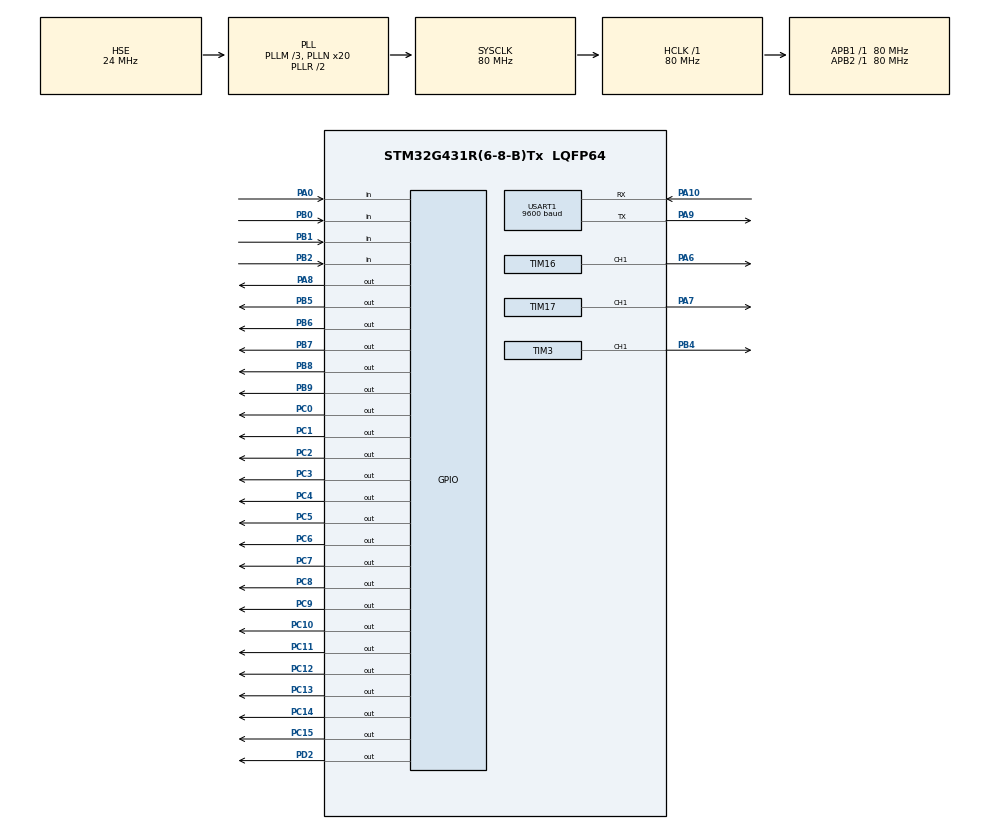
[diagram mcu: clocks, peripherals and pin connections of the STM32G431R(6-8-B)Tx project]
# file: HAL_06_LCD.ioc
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Mcu.Family=STM32G4
Mcu.Name=STM32G431R(6-8-B)Tx
Mcu.Package=LQFP64
NVIC.PriorityGroup=NVIC_PRIORITYGROUP_4
NVIC.TIM1_BRK_TIM15_IRQn=true\:0\:0\:false\:false\:true\:true\:true\:true
NVIC.USART1_IRQn=true\:0\:0\:false\:false\:true\:true\:true\:true
PA0.GPIO_PuPd=GPIO_PULLUP
PA0.Signal=GPIO_Input
PA10.Mode=Asynchronous
PA10.Signal=USART1_RX
PA13.Mode=Serial_Wire
PA13.Signal=SYS_JTMS-SWDIO
PA14.Mode=Serial_Wire
PA14.Signal=SYS_JTCK-SWCLK
PA6.Signal=S_TIM16_CH1
PA7.Signal=S_TIM17_CH1
PA8.Signal=GPIO_Output
PA9.Mode=Asynchronous
PA9.Signal=USART1_TX
PB0.GPIO_Mode=GPIO_MODE_INPUT
PB0.GPIO_PuPd=GPIO_PULLUP
PB0.Signal=GPIO_Input
PB1.GPIO_Mode=GPIO_MODE_INPUT
PB1.GPIO_PuPd=GPIO_PULLUP
PB1.Signal=GPIO_Input
PB2.GPIO_Mode=GPIO_MODE_INPUT
PB2.GPIO_PuPd=GPIO_PULLUP
PB2.Signal=GPIO_Input
PB4.Signal=S_TIM3_CH1
PB5.Signal=GPIO_Output
PB6.Signal=GPIO_Output
PB7.Signal=GPIO_Output
PB8-BOOT0.Signal=GPIO_Output
PB9.Signal=GPIO_Output
PC0.Signal=GPIO_Output
PC1.Signal=GPIO_Output
PC10.Signal=GPIO_Output
PC11.Signal=GPIO_Output
PC12.Signal=GPIO_Output
PC13.Signal=GPIO_Output
PC14-OSC32_IN.Signal=GPIO_Output
PC15-OSC32_OUT.Signal=GPIO_Output
PC2.Signal=GPIO_Output
PC3.Signal=GPIO_Output
PC4.Signal=GPIO_Output
PC5.Signal=GPIO_Output
PC6.Signal=GPIO_Output
PC7.Signal=GPIO_Output
PC8.Signal=GPIO_Output
PC9.Signal=GPIO_Output
PD2.Signal=GPIO_Output
PF0-OSC_IN.Mode=HSE-External-Oscillator
PF0-OSC_IN.Signal=RCC_OSC_IN
PF1-OSC_OUT.Mode=HSE-External-Oscillator
PF1-OSC_OUT.Signal=RCC_OSC_OUT
ProjectManager.HeapSize=0x200
ProjectManager.StackSize=0x400
ProjectManager.TargetToolchain=MDK-ARM V5.27
RCC.ADC12Freq_Value=80000000
RCC.AHBFreq_Value=80000000
RCC.APB1Freq_Value=80000000
RCC.APB1TimFreq_Value=80000000
RCC.APB2Freq_Value=80000000
RCC.APB2TimFreq_Value=80000000
RCC.CortexFreq_Value=80000000
RCC.EXTERNAL_CLOCK_VALUE=12288000
RCC.HCLKFreq_Value=80000000
RCC.HSE_VALUE=24000000
RCC.HSI48_VALUE=48000000
RCC.HSI_VALUE=16000000
RCC.LSE_VALUE=32768
RCC.PLLM=RCC_PLLM_DIV3
RCC.PLLN=20
RCC.PLLSourceVirtual=RCC_PLLSOURCE_HSE
RCC.SYSCLKFreq_VALUE=80000000
RCC.SYSCLKSource=RCC_SYSCLKSOURCE_PLLCLK
RCC.USBFreq_Value=80000000
RCC.VCOOutputFreq_Value=160000000
SH.S_TIM16_CH1.0=TIM16_CH1,PWM Generation1 CH1
SH.S_TIM17_CH1.0=TIM17_CH1,PWM Generation1 CH1
SH.S_TIM3_CH1.0=TIM3_CH1,PWM Generation1 CH1
TIM15.AutoReloadPreload=TIM_AUTORELOAD_PRELOAD_ENABLE
TIM15.PeriodNoDither=1000-1
TIM15.Prescaler=80-1
TIM16.AutoReloadPreload=TIM_AUTORELOAD_PRELOAD_ENABLE
TIM16.Channel=TIM_CHANNEL_1
TIM16.PeriodNoDither=100-1
TIM16.Prescaler=800-1
TIM17.AutoReloadPreload=TIM_AUTORELOAD_PRELOAD_ENABLE
TIM17.Channel=TIM_CHANNEL_1
TIM17.PeriodNoDither=100-1
TIM17.Prescaler=800-1
TIM3.AutoReloadPreload=TIM_AUTORELOAD_PRELOAD_ENABLE
TIM3.Channel-PWM\ Generation1\ CH1=TIM_CHANNEL_1
TIM3.PeriodNoDither=100-1
TIM3.Prescaler=800-1
USART1.BaudRate=9600
USART1.VirtualMode-Asynchronous=VM_ASYNC
VP_SYS_VS_DBSignals.Mode=DisableDeadBatterySignals
VP_TIM15_VS_ClockSourceINT.Mode=Internal
VP_TIM16_VS_ClockSourceINT.Mode=Enable_Timer
VP_TIM17_VS_ClockSourceINT.Mode=Enable_Timer
VP_TIM3_VS_ClockSourceINT.Mode=Internal
board=custom

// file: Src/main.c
/* USER CODE BEGIN Header */
/**
  ******************************************************************************
  * @file           : main.c
  * @brief          : Main program body
  ******************************************************************************
  * @attention
  *
  * <h2><center>&copy; Copyright (c) 2021 STMicroelectronics.
  * All rights reserved.</center></h2>
  *
  * This software component is licensed by ST under BSD 3-Clause license,
  * the "License"; You may not use this file except in compliance with the
  * License. You may obtain a copy of the License at:
  *                        opensource.org/licenses/BSD-3-Clause
  *
  ******************************************************************************
  */
/* USER CODE END Header */
#include "main.h"
#include "tim.h"
#include "usart.h"
#include "gpio.h"

/* USER CODE BEGIN Includes */
#include "led.h"
#include "interrput.h"
#include "i2c_hal.h"
#include "string.h"
/* USER CODE END Includes */

/* USER CODE BEGIN PTD */
#define eeprom_first_flag 50 //第一次上电保持不变需要修改

void lcd_dispaly(void);
void time_computer(void);
void key_proc(void);
void led_show(void);
void time_setting(void);
void eeprom_bsp(void);

#define eeprom_delay 5

extern struct KEYS keys[];
extern int time_flag;
extern char receive_data[];
extern int data_pointer;
/* USER CODE END PTD */

/* USER CODE BEGIN PD */
union EEPROM_DATA {
	uint32_t ID;
	uint8_t str[8];
} My_ID;

struct TIME{
	uint hour;
	uint min;
	uint sec;

	uint hour_set;
	uint min_set;
	uint sec_set;

	uint delay_time;
}time={23,59,50,99,99,99,0};

//	time.hour=23;
//	time.min=59;
//	time.sec=50;
//
//	time.hour_set=99;
//	time.min_set=99;
//	time.sec_set=99;
//
//	time.delay_time=0;

int flagg=1;//时间自锁标志位

int pa6_flag=1; //开机处于不调制状态
int pa7_flag=1;

int time_set_flag=0;
int time_set_real=0;

int pa6_status_flag=0;
int pa7_status_flag=0;

int rx_show_flag=0;

int pa6_duty=80;
int pa7_duty=10;

uint8_t P_uart_data;

uint pwm_select=0;
/* USER CODE END PD */

/* USER CODE BEGIN PM */
char lcd_buff[25];
char rx_buff[25];
char temp_rx_data[30];
/* USER CODE END PM */

void SystemClock_Config(void);

int main(void)
{

  /* MCU Configuration--------------------------------------------------------*/

  /* Reset of all peripherals, Initializes the Flash interface and the Systick. */
  HAL_Init();

  /* Configure the system clock */
  SystemClock_Config();

  /* Initialize all configured peripherals */
  MX_GPIO_Init();
  MX_TIM3_Init();
  MX_TIM15_Init();
  MX_TIM16_Init();
  MX_TIM17_Init();
  MX_USART1_UART_Init();

  /* USER CODE BEGIN 2 */
	HAL_TIM_Base_Start_IT(&htim15); //按键定时器
	LCD_Init();
	I2CInit();
	HAL_UART_Receive_IT(&huart1, &P_uart_data,1);
	led_disp(0x00);

  /* USER CODE END 2 */

  /* Infinite loop */
  /* USER CODE BEGIN WHILE */
	LCD_Clear(Black);
	LCD_SetBackColor(Black);
	LCD_SetTextColor(White);

	eeprom_bsp();
	pa6_duty=eeprom_read(0x00);
	HAL_Delay(eeprom_delay);
	pa7_duty=eeprom_read(0x01);
	HAL_Delay(eeprom_delay);

  while (1)
  {
    /* USER CODE END WHILE */

    /* USER CODE BEGIN 3 */
		time_computer();

		key_proc();

		time_setting();

		lcd_dispaly();
		led_show();
		if(data_pointer!=0)
		{
			int temp=data_pointer;
			HAL_Delay(1);
			if(temp==data_pointer)
				data_deal();
		}
  }
  /* USER CODE END 3 */
}

void SystemClock_Config(void)
{
  RCC_OscInitTypeDef RCC_OscInitStruct = {0};
  RCC_ClkInitTypeDef RCC_ClkInitStruct = {0};

  /** Configure the main internal regulator output voltage
  */
  HAL_PWREx_ControlVoltageScaling(PWR_REGULATOR_VOLTAGE_SCALE1);

  /** Initializes the RCC Oscillators according to the specified parameters
  * in the RCC_OscInitTypeDef structure.
  */
  RCC_OscInitStruct.OscillatorType = RCC_OSCILLATORTYPE_HSE;
  RCC_OscInitStruct.HSEState = RCC_HSE_ON;
  RCC_OscInitStruct.PLL.PLLState = RCC_PLL_ON;
  RCC_OscInitStruct.PLL.PLLSource = RCC_PLLSOURCE_HSE;
  RCC_OscInitStruct.PLL.PLLM = RCC_PLLM_DIV3;
  RCC_OscInitStruct.PLL.PLLN = 20;
  RCC_OscInitStruct.PLL.PLLP = RCC_PLLP_DIV2;
  RCC_OscInitStruct.PLL.PLLQ = RCC_PLLQ_DIV2;
  RCC_OscInitStruct.PLL.PLLR = RCC_PLLR_DIV2;
  if (HAL_RCC_OscConfig(&RCC_OscInitStruct) != HAL_OK)
  {
    Error_Handler();
  }

  /** Initializes the CPU, AHB and APB buses clocks
  */
  RCC_ClkInitStruct.ClockType = RCC_CLOCKTYPE_HCLK|RCC_CLOCKTYPE_SYSCLK
                              |RCC_CLOCKTYPE_PCLK1|RCC_CLOCKTYPE_PCLK2;
  RCC_ClkInitStruct.SYSCLKSource = RCC_SYSCLKSOURCE_PLLCLK;
  RCC_ClkInitStruct.AHBCLKDivider = RCC_SYSCLK_DIV1;
  RCC_ClkInitStruct.APB1CLKDivider = RCC_HCLK_DIV1;
  RCC_ClkInitStruct.APB2CLKDivider = RCC_HCLK_DIV1;

  if (HAL_RCC_ClockConfig(&RCC_ClkInitStruct, FLASH_LATENCY_2) != HAL_OK)
  {
    Error_Handler();
  }
}

/* USER CODE BEGIN 4 */
void eeprom_bsp(){
		if(eeprom_read(0xff)!=eeprom_first_flag){
		   	HAL_Delay(eeprom_delay);
				eeprom_write(0x00,80);
				HAL_Delay(eeprom_delay);
			  eeprom_write(0x01,10);
				HAL_Delay(eeprom_delay);
				eeprom_write(0xff,eeprom_first_flag);
				HAL_Delay(eeprom_delay);
		}
}
void key_proc(){
	if(keys[0].key_short_flag==1)
	{
		pa6_flag++;
		keys[0].key_short_flag=0;
	}

	if((pa6_flag%2==0)&&(keys[1].key_short_flag==1))
	{
		if(pa6_duty==90)
			pa6_duty=10;
		else
			pa6_duty+=10;

		//pwm_pa6_value=pa6_duty;
		//deal_eeprom();
		//wirte_eeprom(0,pa6_duty);
		eeprom_write(0,pa6_duty);
		HAL_Delay(eeprom_delay);

		keys[1].key_short_flag=0;
	}
	else if(keys[1].key_short_flag==1)
	{
		keys[1].key_short_flag=0;
	}

	//pa7 b1
	if(keys[2].key_short_flag==1)
	{
		pa7_flag++;
		keys[2].key_short_flag=0;
	}
	//pa7 b2
	if((pa7_flag%2==0)&&(keys[3].key_short_flag==1))
	{
		if(pa7_duty==90)
			pa7_duty=10;
		else
			pa7_duty+=10;

		//pwm_pa7_value=pa7_duty;
		//deal_eeprom();
		//wirte_eeprom(1,pa7_duty);
		eeprom_write(1,pa7_duty);
		HAL_Delay(eeprom_delay);

		keys[3].key_short_flag=0;
	}
	else if(keys[3].key_short_flag==1)
	{
		keys[3].key_short_flag=0;
	}
}
void time_computer(){
	if(time_flag>=1000)
	{
		time_set_real+=1;//设定时间计时
		time.sec+=1;
		time_flag=1;
	}
	if(time.sec==60)
	{
		time.min+=1;
		time.sec=0;
	}
	if(time.min==60)
	{
		time.hour+=1;
		time.min=0;
	}
	if(time.hour==24)
	{
		time.sec=0;
		time.min=0;
		time.hour=0;
	}
}
void data_deal(){
	if(data_pointer>0)
	{
		if(data_pointer==15)
		{
			time.hour_set=((receive_data[0])-48)*10+(receive_data[1]-48);
			time.min_set=((receive_data[3])-48)*10+(receive_data[4]-48);
			time.sec_set=((receive_data[6])-48)*10+(receive_data[7]-48);

			pwm_select=((receive_data[11])-48);

			time.delay_time=((receive_data[13])-48);
			//sscanf(receive_data,"%2s:%2s:%2s-%3s-%2s",rx_data1.data12,rx_data1.data34,rx_data1.data56,rx_data1.data789,rx_data1.data10);
			for(int i=0;i<30;i++)
				temp_rx_data[i]=receive_data[i];
			rx_show_flag=1;
		}
		else
		{
			sprintf(rx_buff,"Error\r\n");
			HAL_UART_Transmit(&huart1,(uint8_t *)rx_buff,strlen(rx_buff),100);
			rx_show_flag=0;
		}
		data_pointer=0;
		memset(receive_data,0,30);
	}
}
void time_setting(){
	if(time.hour==time.hour_set&&time.min==time.min_set&&time.sec==time.sec_set)
	{
		if(flagg)
		{	if(pa6_flag%2!=0)
			{
				if(pwm_select==6)
				{
					pa6_flag+=1;
				}
			}
			if(pa7_flag%2!=0)
			{
				if(pwm_select==7)
				{
					pa7_flag+=1;
				}
			}
			time_set_real=0;//计时开始
			time_set_flag=1;
			flagg=0;
		}
	}
	if(time_set_flag==1)
	{
		if(time_set_real<=time.delay_time)
		{
		}
		else
		{
			if(pwm_select==6)
			{
				//if(pa6_flag%2!=0)
					pa6_flag+=1;
			}
			if(pwm_select==7)
			{
				//if(pa6_flag%2!=0)
					pa7_flag+=1;
			}
			flagg=1;
			rx_show_flag=0;//关闭显示接收
			pwm_select=0;
			time_set_flag=0;
		}
	}

}

void lcd_dispaly(){

	if(pa6_flag%2==0)//调制状态
	{
		//pwm_pa6_value=(read_eeprom(1)<<8)+read_eeprom(2);
		sprintf(lcd_buff,"  PWM-PA6:%d%%          ",pa6_duty);
		LCD_DisplayStringLine(Line0,(unsigned char *)lcd_buff);
		//led_one_show(GPIOC,GPIO_PIN_8,GPIO_PIN_RESET);
	}
	else
	{
		sprintf(lcd_buff,"  PWM-PA6:0          ");
		LCD_DisplayStringLine(Line0,(unsigned char *)lcd_buff);
		//led_one_show(GPIOC,GPIO_PIN_8,GPIO_PIN_SET);
	}

	if(pa7_flag%2==0)//调制状态
	{
		//pwm_pa7_value=(read_eeprom(5)<<8)+read_eeprom(6);
		sprintf(lcd_buff,"  PWM-PA7:%d%%          ",pa7_duty);
		LCD_DisplayStringLine(Line2,(unsigned char *)lcd_buff);
		//led_one_show(GPIOC,GPIO_PIN_9,GPIO_PIN_RESET);
	}
	else
	{
		sprintf(lcd_buff,"  PWM-PA7:0          ");
		LCD_DisplayStringLine(Line2,(unsigned char *)lcd_buff);
		//led_one_show(GPIOC,GPIO_PIN_9,GPIO_PIN_SET);
	}

	sprintf(lcd_buff,"  Time:%d:%d:%d          ",time.hour,time.min,time.sec);
	LCD_DisplayStringLine(Line4,(unsigned char *)lcd_buff);

	if(pwm_select==6||pwm_select==7)
	{
		sprintf(lcd_buff,"  Channel:PA%d          ",pwm_select);
		LCD_DisplayStringLine(Line6,(unsigned char *)lcd_buff);
	}
	else
	{
		sprintf(lcd_buff,"  Channel:           ");
		LCD_DisplayStringLine(Line6,(unsigned char *)lcd_buff);
	}

	sprintf(lcd_buff,"  Command:           ");
	LCD_DisplayStringLine(Line8,(unsigned char *)lcd_buff);

	if(rx_show_flag)
	{
	sprintf(lcd_buff,"  %15s",temp_rx_data);
	LCD_DisplayStringLine(Line9,(unsigned char *)lcd_buff);
	}
	else
	{
		sprintf(lcd_buff,"          None           ");
		LCD_DisplayStringLine(Line9,(unsigned char *)lcd_buff);
	}
}

void led_show(){
	if(pa6_flag%2==0&&pa7_flag%2!=0)//仅PA6调制状态
	{
		HAL_GPIO_WritePin(GPIOD,GPIO_PIN_2,GPIO_PIN_SET);
		HAL_GPIO_WritePin(GPIOC,GPIO_PIN_All,GPIO_PIN_SET);

		HAL_GPIO_WritePin(GPIOC,GPIO_PIN_8,GPIO_PIN_RESET);

		HAL_GPIO_WritePin(GPIOD,GPIO_PIN_2,GPIO_PIN_RESET);
	}
	else if(pa6_flag%2!=0&&pa7_flag%2==0)//仅PA7调制状态
	{
		HAL_GPIO_WritePin(GPIOD,GPIO_PIN_2,GPIO_PIN_SET);
		HAL_GPIO_WritePin(GPIOC,GPIO_PIN_All,GPIO_PIN_SET);

		HAL_GPIO_WritePin(GPIOC,GPIO_PIN_9,GPIO_PIN_RESET);

		HAL_GPIO_WritePin(GPIOD,GPIO_PIN_2,GPIO_PIN_RESET);

	}
	else if(pa6_flag%2==0&&pa7_flag%2==0)//pa6 pa7调制状态
	{
		HAL_GPIO_WritePin(GPIOD,GPIO_PIN_2,GPIO_PIN_SET);
		HAL_GPIO_WritePin(GPIOC,GPIO_PIN_All,GPIO_PIN_SET);

		HAL_GPIO_WritePin(GPIOC,GPIO_PIN_8,GPIO_PIN_RESET);
		HAL_GPIO_WritePin(GPIOC,GPIO_PIN_9,GPIO_PIN_RESET);

		HAL_GPIO_WritePin(GPIOD,GPIO_PIN_2,GPIO_PIN_RESET);

	}
	else if(pa6_flag%2!=0&&pa7_flag%2!=0)//pa6 pa7都不调制状态
	{
		HAL_GPIO_WritePin(GPIOD,GPIO_PIN_2,GPIO_PIN_SET);
		HAL_GPIO_WritePin(GPIOC,GPIO_PIN_All,GPIO_PIN_SET);

		HAL_GPIO_WritePin(GPIOD,GPIO_PIN_2,GPIO_PIN_RESET);

	}

}

/* USER CODE END 4 */

void Error_Handler(void)
{
}
